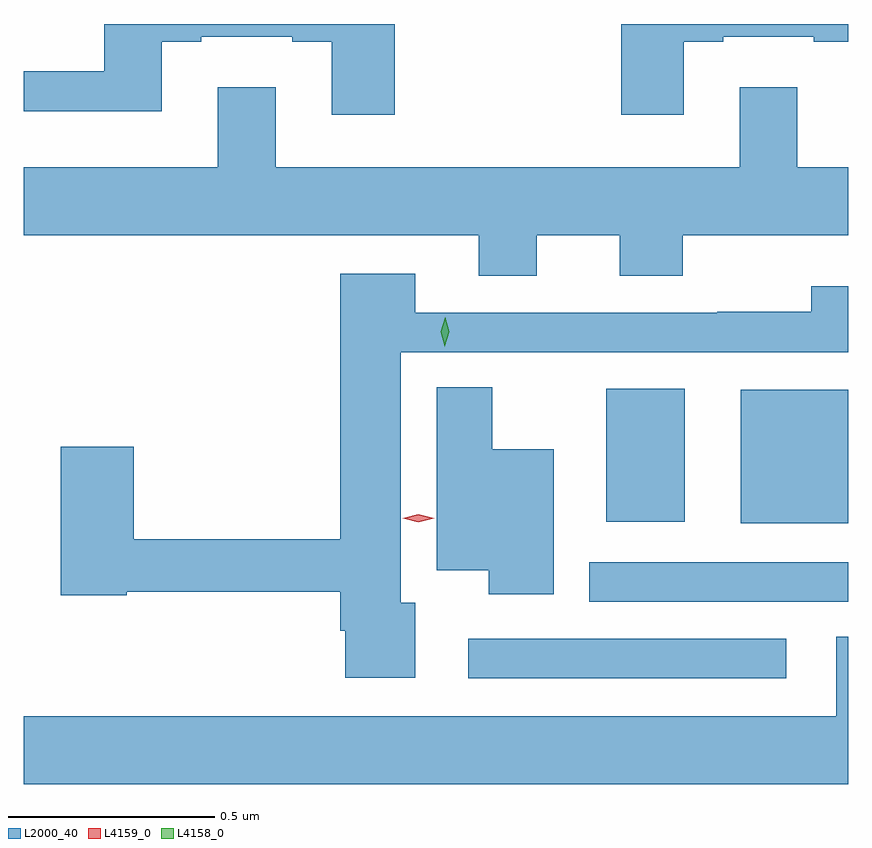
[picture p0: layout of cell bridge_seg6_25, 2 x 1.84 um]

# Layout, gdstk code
import gdstk
lib = gdstk.Library(unit=1e-6, precision=1e-09)
def R(c, l, rs):  # rectangles x0, y0, x1, y1
    for r in rs: c.add(gdstk.rectangle(r[:2], r[2:], *l))
def P(c, l, *ps):  # polygons
    for p in ps: c.add(gdstk.Polygon(p, *l))
L2000_40 = (2000, 40)
L4158_0 = (4158, 0)
L4159_0 = (4159, 0)

bridge_seg6_25 = lib.new_cell('bridge_seg6_25')
R(bridge_seg6_25, L2000_40, [(960.198,966.24,960.97,966.336), (960.492,966.426,961.12,966.522), (960.86,966.617,961.12,966.94), (960.533,966.62,960.724,966.943)])
P(bridge_seg6_25, L2000_40, [(960.02,967.828),(959.315,967.828),(959.315,967.713),(959.12,967.713),(959.12,967.616),(959.455,967.616),(959.455,967.785),(959.551,967.785),(959.551,967.797),(959.771,967.797),(959.771,967.785),(959.867,967.785),(959.867,967.608),(960.02,967.608)],
  [(960.721,967.785),(960.817,967.785),(960.817,967.797),(961.037,967.797),(961.037,967.785),(961.12,967.785),(961.12,967.828),(960.569,967.828),(960.569,967.608),(960.721,967.608)],
  [(960.364,967.316),(960.566,967.316),(960.566,967.217),(960.719,967.217),(960.719,967.316),(961.12,967.316),(961.12,967.48),(960.997,967.48),(960.997,967.675),(960.857,967.675),(960.857,967.48),(959.731,967.48),(959.731,967.675),(959.591,967.675),(959.591,967.48),(959.12,967.48),(959.12,967.316),(960.224,967.316),(960.224,967.217),(960.364,967.217)],
  [(960.07,966.424),(960.034,966.424),(960.034,967.032),(961.12,967.032),(961.12,967.192),(961.03,967.192),(961.03,967.13),(960.802,967.13),(960.802,967.128),(960.07,967.128),(960.07,967.222),(959.888,967.222),(959.888,966.578),(959.387,966.578),(959.387,966.802),(959.209,966.802),(959.209,966.442),(959.37,966.442),(959.37,966.45),(959.888,966.45),(959.888,966.356),(959.9,966.356),(959.9,966.242),(960.07,966.242)],
  [(960.406,966.796),(960.256,966.796),(960.256,966.947),(960.122,966.947),(960.122,966.503),(960.248,966.503),(960.248,966.444),(960.406,966.444)],
  [(961.12,966.341),(961.091,966.341),(961.091,966.148),(959.12,966.148),(959.12,965.984),(961.12,965.984)])
P(bridge_seg6_25, L4158_0, [(960.141,967.045),(960.141,967.046),(960.132,967.081),(960.142,967.117),(960.143,967.117),(960.143,967.117),(960.152,967.081),(960.141,967.046)])
P(bridge_seg6_25, L4159_0, [(960.077,966.619),(960.039,966.629),(960.039,966.629),(960.039,966.629),(960.077,966.639),(960.116,966.629),(960.116,966.629),(960.116,966.629)])

lib.write_gds('bridge_seg6_25.gds')
